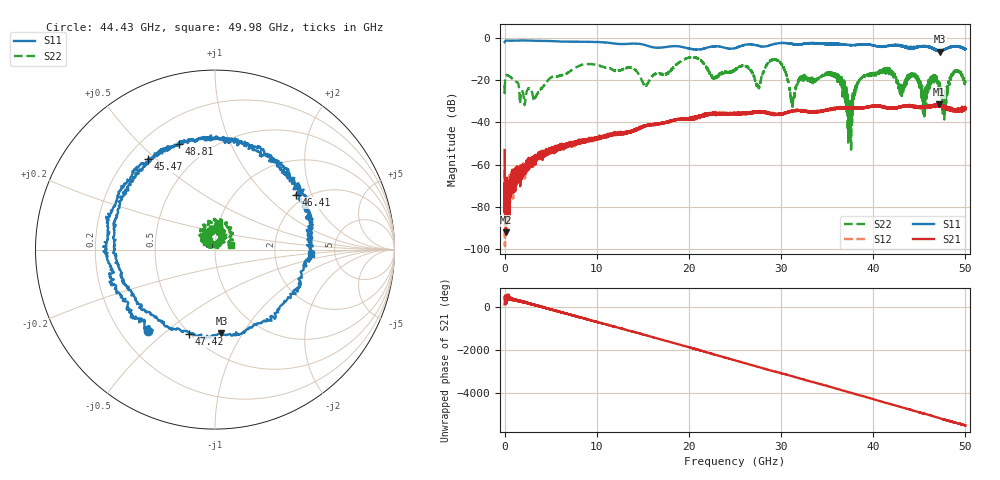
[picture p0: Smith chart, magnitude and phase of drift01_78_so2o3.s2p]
!Created with skrf (http://scikit-rf.org).
# Hz S RI R 50.0
!freq ReS11 ImS11 ReS21 ImS21 ReS12 ImS12 ReS22 ImS22
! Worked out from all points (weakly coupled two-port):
!   10001 points, 300 kHz to 50 GHz, reference 50 ohm
!   highest |S21| = -31.45 dB at 47.14 GHz (marker M1); lowest = -92.0 dB at 160.3 MHz (marker M2)
!   lowest |S11| = -6.6 dB at 47.28 GHz (marker M3), VSWR 2.75, Z = 34.1 - j40.7 ohm
!   |S11| at or under -10 dB: nowhere
!   |S22| runs from -53.8 to -9.2 dB; largest |S21 - S12| = 0.0042
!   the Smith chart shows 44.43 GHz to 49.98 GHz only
!   S11 on the Smith chart (normalised r, x): 44.43 GHz: 0.31, -0.44; 45.47 GHz: 0.28, +0.47; 46.41 GHz: 1.78, +1.54; 47.42 GHz: 0.50, -0.61; 48.81 GHz: 0.34, +0.66; 49.98 GHz: 3.27, -0.24
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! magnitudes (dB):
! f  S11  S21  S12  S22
! 300 kHz  -2.1  -53.1  -62.3  -22.7
! 160.3 MHz  -1.5  -92.0  -75.8  -17.8
! 3.29 GHz  -1.5  -56.8  -56.2  -28.8
! 8.335 GHz  -1.9  -49.6  -49.0  -12.9
! 16.67 GHz  -4.8  -40.7  -40.5  -16.7
! 25 GHz  -5.0  -36.1  -35.8  -15.4
! 29.58 GHz  -2.8  -36.2  -36.3  -10.7
! 31.23 GHz  -3.0  -34.7  -34.7  -32.4
! 33.34 GHz  -2.6  -35.2  -34.9  -20.4
! 36.12 GHz  -3.1  -33.2  -33.2  -19.9
! 37.49 GHz  -3.5  -32.9  -33.3  -41.9
! 38.65 GHz  -3.3  -33.4  -33.2  -19.3
! 41.67 GHz  -3.9  -33.0  -33.1  -16.4
! 44.43 GHz  -4.6  -32.6  -32.5  -17.2
! 45.47 GHz  -4.1  -33.0  -33.0  -26.7
! 46.41 GHz  -5.3  -32.1  -31.9  -20.1
! 47.14 GHz  -6.4  -31.4  -32.1  -22.6
! 47.28 GHz  -6.6  -32.5  -32.0  -24.2
! 47.42 GHz  -6.2  -32.3  -32.5  -25.4
! 48.81 GHz  -4.1  -34.3  -34.9  -15.9
! 49.98 GHz  -5.5  -32.8  -33.2  -20.8
! 50 GHz  -5.5  -33.8  -34.0  -21.1
